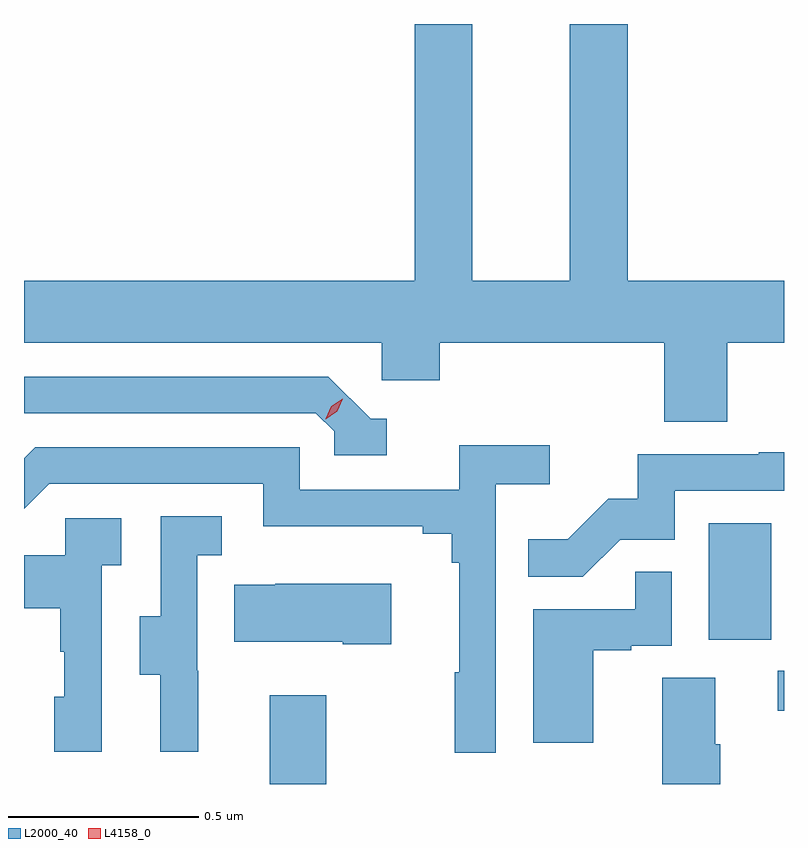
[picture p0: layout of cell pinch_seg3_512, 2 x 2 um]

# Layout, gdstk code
import gdstk
lib = gdstk.Library(unit=1e-6, precision=1e-09)
def R(c, l, rs):  # rectangles x0, y0, x1, y1
    for r in rs: c.add(gdstk.rectangle(r[:2], r[2:], *l))
def P(c, l, *ps):  # polygons
    for p in ps: c.add(gdstk.Polygon(p, *l))
L2000_40 = (2000, 40)
L4158_0 = (4158, 0)

pinch_seg3_512 = lib.new_cell('pinch_seg3_512')
R(pinch_seg3_512, L2000_40, [(982.277,681.107,982.425,681.34), (983.613,681.3,983.63,681.405), (983.432,681.486,983.596,681.793)])
P(pinch_seg3_512, L2000_40, [(983.48,682.268),(983.63,682.268),(983.63,682.432),(983.219,682.432),(983.219,683.107),(983.066,683.107),(983.066,682.432),(982.81,682.432),(982.81,683.107),(982.658,683.107),(982.658,682.432),(981.63,682.432),(981.63,682.268),(982.572,682.268),(982.572,682.17),(982.724,682.17),(982.724,682.268),(983.315,682.268),(983.315,682.06),(983.48,682.06)],
  [(982.585,682.068),(982.542,682.068),(982.431,682.179),(981.63,682.179),(981.63,682.083),(982.398,682.083),(982.446,682.035),(982.446,681.972),(982.585,681.972)],
  [(982.872,681.896),(983.014,681.896),(983.014,681.998),(982.775,681.998),(982.775,681.882),(982.356,681.882),(982.356,681.993),(981.659,681.993),(981.63,681.964),(981.63,681.831),(981.696,681.897),(982.26,681.897),(982.26,681.785),(982.679,681.785),(982.679,681.766),(982.756,681.766),(982.756,681.689),(982.775,681.689),(982.775,681.401),(982.764,681.401),(982.764,681.189),(982.872,681.189)],
  [(983.199,681.75),(983.343,681.75),(983.343,681.879),(983.63,681.879),(983.63,681.98),(983.563,681.98),(983.563,681.975),(983.245,681.975),(983.245,681.858),(983.168,681.858),(983.061,681.751),(982.957,681.751),(982.957,681.652),(983.101,681.652)],
  [(982.088,681.405),(982.086,681.405),(982.086,681.709),(982.15,681.709),(982.15,681.812),(981.99,681.812),(981.99,681.549),(981.935,681.549),(981.935,681.394),(981.989,681.394),(981.989,681.192),(982.088,681.192)],
  [(981.834,681.683),(981.886,681.683),(981.886,681.807),(981.738,681.807),(981.738,681.709),(981.63,681.709),(981.63,681.569),(981.726,681.569),(981.726,681.455),(981.736,681.455),(981.736,681.336),(981.71,681.336),(981.71,681.192),(981.834,681.192)],
  [(983.128,681.459),(983.228,681.459),(983.228,681.471),(983.334,681.471),(983.334,681.665),(983.239,681.665),(983.239,681.567),(982.97,681.567),(982.97,681.216),(983.128,681.216)],
  [(982.597,681.634),(982.291,681.634),(982.291,681.631),(982.183,681.631),(982.183,681.482),(982.469,681.482),(982.469,681.475),(982.597,681.475)],
  [(983.462,681.212),(983.449,681.212),(983.449,681.386),(983.309,681.386),(983.309,681.107),(983.462,681.107)])
P(pinch_seg3_512, L4158_0, [(982.424,682.067),(982.424,682.068),(982.439,682.101),(982.469,682.121),(982.469,682.121),(982.469,682.121),(982.454,682.088),(982.424,682.067)])

lib.write_gds('pinch_seg3_512.gds')
